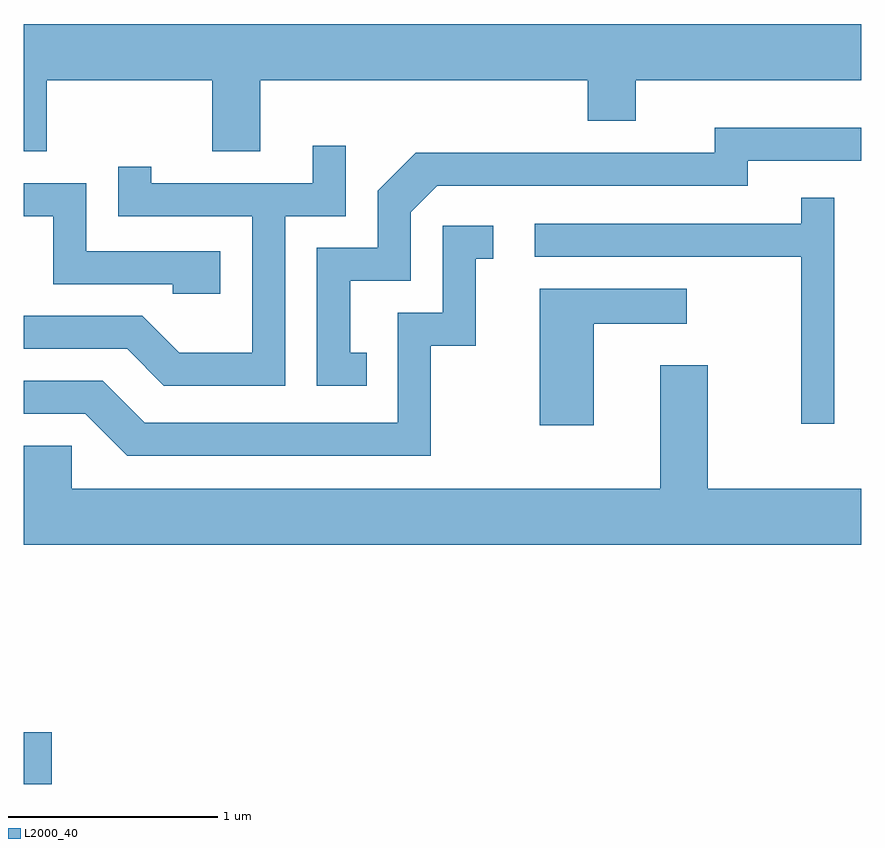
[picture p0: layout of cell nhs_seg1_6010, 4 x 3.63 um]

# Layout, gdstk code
import gdstk
lib = gdstk.Library(unit=1e-6, precision=1e-09)
def R(c, l, rs):  # rectangles x0, y0, x1, y1
    for r in rs: c.add(gdstk.rectangle(r[:2], r[2:], *l))
def P(c, l, *ps):  # polygons
    for p in ps: c.add(gdstk.Polygon(p, *l))
L2000_40 = (2000, 40)

nhs_seg1_6010 = lib.new_cell('nhs_seg1_6010')
R(nhs_seg1_6010, L2000_40, [(365.611,951.712,365.744,951.959)])
P(nhs_seg1_6010, L2000_40, [(365.719,955.076),(366.511,955.076),(366.511,954.736),(366.739,954.736),(366.739,955.076),(368.306,955.076),(368.306,954.881),(368.534,954.881),(368.534,955.076),(369.611,955.076),(369.611,955.344),(365.611,955.344),(365.611,954.736),(365.719,954.736)],
  [(367.248,953.774),(367.169,953.774),(367.169,954.116),(367.459,954.116),(367.459,954.444),(367.587,954.571),(369.069,954.571),(369.069,954.691),(369.611,954.691),(369.611,954.849),(368.911,954.849),(368.911,954.729),(367.484,954.729),(367.301,954.547),(367.301,954.274),(367.011,954.274),(367.011,953.616),(367.248,953.616)],
  [(366.859,954.426),(367.149,954.426),(367.149,954.763),(366.991,954.763),(366.991,954.584),(366.219,954.584),(366.219,954.663),(366.061,954.663),(366.061,954.426),(366.701,954.426),(366.701,953.774),(366.352,953.774),(366.177,953.949),(365.611,953.949),(365.611,953.791),(366.104,953.791),(366.279,953.616),(366.859,953.616)],
  [(366.549,954.259),(365.909,954.259),(365.909,954.584),(365.611,954.584),(365.611,954.426),(365.751,954.426),(365.751,954.101),(366.321,954.101),(366.321,954.056),(366.549,954.056)],
  [(369.484,954.513),(369.326,954.513),(369.326,954.389),(368.053,954.389),(368.053,954.231),(369.326,954.231),(369.326,953.433),(369.484,953.433)],
  [(367.554,953.806),(367.769,953.806),(367.769,954.221),(367.853,954.221),(367.853,954.379),(367.611,954.379),(367.611,953.964),(367.396,953.964),(367.396,953.439),(366.187,953.439),(365.987,953.639),(365.611,953.639),(365.611,953.481),(365.904,953.481),(366.104,953.281),(367.554,953.281)],
  [(368.334,953.911),(368.778,953.911),(368.778,954.079),(368.076,954.079),(368.076,953.426),(368.334,953.426)],
  [(369.611,953.124),(368.879,953.124),(368.879,953.714),(368.651,953.714),(368.651,953.124),(365.839,953.124),(365.839,953.329),(365.611,953.329),(365.611,952.856),(369.611,952.856)])

lib.write_gds('nhs_seg1_6010.gds')
